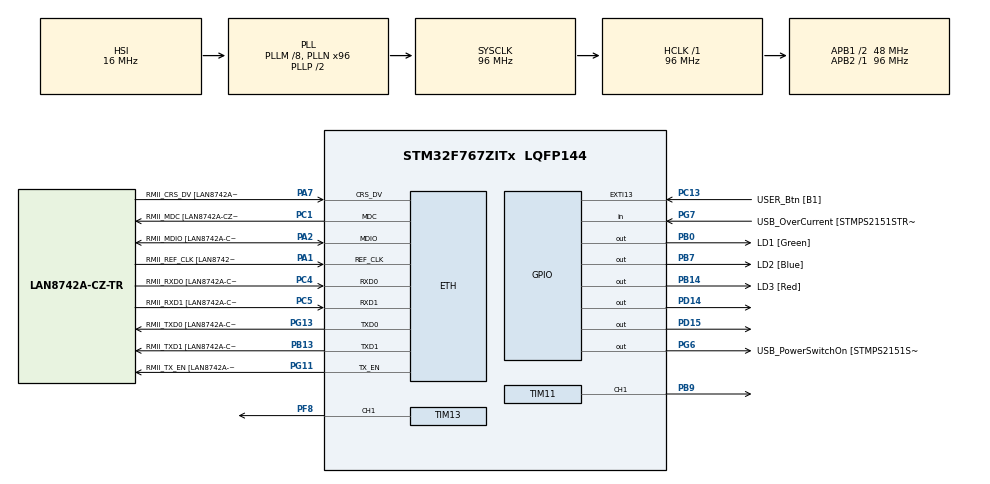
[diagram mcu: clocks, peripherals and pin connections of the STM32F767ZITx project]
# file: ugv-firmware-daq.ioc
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CORTEX_M7.AccessPermission-Cortex_Memory_Protection_Unit_Region0_Settings=MPU_REGION_FULL_ACCESS
CORTEX_M7.BaseAddress-Cortex_Memory_Protection_Unit_Region0_Settings=0x2007c000
CORTEX_M7.CPU_DCache=Enabled
CORTEX_M7.CPU_ICache=Enabled
CORTEX_M7.DisableExec-Cortex_Memory_Protection_Unit_Region0_Settings=MPU_INSTRUCTION_ACCESS_DISABLE
CORTEX_M7.Enable-Cortex_Memory_Protection_Unit_Region0_Settings=MPU_REGION_ENABLE
CORTEX_M7.Enable-Cortex_Memory_Protection_Unit_Region1_Settings=__NULL
CORTEX_M7.Enable-Cortex_Memory_Protection_Unit_Region2_Settings=__NULL
CORTEX_M7.IsShareable-Cortex_Memory_Protection_Unit_Region0_Settings=MPU_ACCESS_SHAREABLE
CORTEX_M7.MPU_Control=MPU_PRIVILEGED_DEFAULT
CORTEX_M7.PREFETCH_ENABLE=1
CORTEX_M7.Size-Cortex_Memory_Protection_Unit_Region0_Settings=MPU_REGION_SIZE_16KB
CORTEX_M7.SubRegionDisable-Cortex_Memory_Protection_Unit_Region0_Settings=0x0
CORTEX_M7.TypeExtField-Cortex_Memory_Protection_Unit_Region0_Settings=MPU_TEX_LEVEL1
ETH.MACAddr=00\:80\:E1\:00\:00\:01
ETH.MediaInterface=HAL_ETH_RMII_MODE
LWIP.BSP.number=1
LWIP.GATEWAY_ADDRESS=169.254.155.001
LWIP.IP_ADDRESS=169.254.155.101
LWIP.LWIP_DHCP=0
LWIP.LWIP_RAM_HEAP_POINTER=0x2007c140
LWIP.MEM_SIZE=10*1024
LWIP.NETMASK_ADDRESS=255.255.255.000
LWIP.Version=v2.1.2_Cube
LWIP0.BSP.STBoard=false
LWIP0.BSP.api=BSP_COMPONENT_DRIVER
LWIP0.BSP.component=LAN8742
LWIP0.BSP.instance=LAN8742
LWIP0.BSP.name=Driver_PHY
LWIP0.BSP.semaphore=S_LAN8742
LWIP0.BSP.solution=LAN8742
Mcu.Family=STM32F7
Mcu.Name=STM32F767ZITx
Mcu.Package=LQFP144
NVIC.ETH_IRQn=true\:0\:0\:false\:false\:true\:true\:true\:true
NVIC.PriorityGroup=NVIC_PRIORITYGROUP_4
PA1.GPIO_Label=RMII_REF_CLK [LAN8742A-CZ-TR_REFCLK0]
PA1.Mode=RMII
PA1.Signal=ETH_REF_CLK
PA10.GPIO_Label=USB_ID
PA10.Signal=USB_OTG_FS_ID
PA11.GPIO_Label=USB_DM
PA11.Signal=USB_OTG_FS_DM
PA12.GPIO_Label=USB_DP
PA12.Signal=USB_OTG_FS_DP
PA13.GPIO_Label=TMS
PA13.Signal=SYS_JTMS-SWDIO
PA14.GPIO_Label=TCK
PA14.Signal=SYS_JTCK-SWCLK
PA2.GPIO_Label=RMII_MDIO [LAN8742A-CZ-TR_MDIO]
PA2.Mode=RMII
PA2.Signal=ETH_MDIO
PA7.GPIO_Label=RMII_CRS_DV [LAN8742A-CZ-TR_CRS_DV]
PA7.Mode=RMII
PA7.Signal=ETH_CRS_DV
PA8.GPIO_Label=USB_SOF [TP1]
PA8.Signal=USB_OTG_FS_SOF
PA9.GPIO_Label=USB_VBUS
PA9.Signal=USB_OTG_FS_VBUS
PB0.GPIO_Label=LD1 [Green]
PB0.Signal=GPIO_Output
PB13.GPIO_Label=RMII_TXD1 [LAN8742A-CZ-TR_TXD1]
PB13.Mode=RMII
PB13.Signal=ETH_TXD1
PB14.GPIO_Label=LD3 [Red]
PB14.Signal=GPIO_Output
PB3.GPIO_Label=SW0
PB3.Signal=SYS_JTDO-SWO
PB7.GPIO_Label=LD2 [Blue]
PB7.Signal=GPIO_Output
PB9.Signal=S_TIM11_CH1
PC1.GPIO_Label=RMII_MDC [LAN8742A-CZ-TR_MDC]
PC1.Mode=RMII
PC1.Signal=ETH_MDC
PC13.GPIO_Label=USER_Btn [B1]
PC13.Signal=GPXTI13
PC14/OSC32_IN.Signal=RCC_OSC32_IN
PC15/OSC32_OUT.Signal=RCC_OSC32_OUT
PC4.GPIO_Label=RMII_RXD0 [LAN8742A-CZ-TR_RXD0]
PC4.Mode=RMII
PC4.Signal=ETH_RXD0
PC5.GPIO_Label=RMII_RXD1 [LAN8742A-CZ-TR_RXD1]
PC5.Mode=RMII
PC5.Signal=ETH_RXD1
PD14.Signal=GPIO_Output
PD15.Signal=GPIO_Output
PD8.GPIO_Label=STLK_RX [STM32F103CBT6_PA3]
PD8.Signal=USART3_TX
PD9.GPIO_Label=STLK_TX [STM32F103CBT6_PA2]
PD9.Signal=USART3_RX
PF8.Signal=S_TIM13_CH1
PG11.GPIO_Label=RMII_TX_EN [LAN8742A-CZ-TR_TXEN]
PG11.Mode=RMII
PG11.Signal=ETH_TX_EN
PG13.GPIO_Label=RMII_TXD0 [LAN8742A-CZ-TR_TXD0]
PG13.Mode=RMII
PG13.Signal=ETH_TXD0
PG6.GPIO_Label=USB_PowerSwitchOn [STMPS2151STR_EN]
PG6.Signal=GPIO_Output
PG7.GPIO_Label=USB_OverCurrent [STMPS2151STR_FAULT]
PG7.Signal=GPIO_Input
PH0/OSC_IN.GPIO_Label=MCO [STM32F103CBT6_PA8]
PH0/OSC_IN.Mode=HSE-External-Oscillator
PH0/OSC_IN.Signal=RCC_OSC_IN
PH1/OSC_OUT.Mode=HSE-External-Oscillator
PH1/OSC_OUT.Signal=RCC_OSC_OUT
ProjectManager.HeapSize=0x200
ProjectManager.StackSize=0x400
ProjectManager.TargetToolchain=STM32CubeIDE
RCC.48MHZClocksFreq_Value=24000000
RCC.AHBFreq_Value=96000000
RCC.APB1CLKDivider=RCC_HCLK_DIV2
RCC.APB1Freq_Value=48000000
RCC.APB1TimFreq_Value=96000000
RCC.APB2Freq_Value=96000000
RCC.APB2TimFreq_Value=96000000
RCC.CortexFreq_Value=96000000
RCC.HCLKFreq_Value=96000000
RCC.HSE_VALUE=16000000
RCC.HSI_VALUE=16000000
RCC.LSE_VALUE=32768
RCC.PLLM=8
RCC.PLLMUL=RCC_PLL_MUL9
RCC.PLLN=96
RCC.PRESCALERUSB=RCC_USBCLKSOURCE_PLL_DIV1_5
RCC.SYSCLKFreq_VALUE=96000000
RCC.SYSCLKSource=RCC_SYSCLKSOURCE_PLLCLK
RCC.SYSCLKSourceVirtual=RCC_SYSCLKSOURCE_PLLCLK
RCC.USBFreq_Value=96000000
RCC.VCOOutputFreq_Value=192000000
SH.S_TIM11_CH1.0=TIM11_CH1,PWM Generation1 CH1
SH.S_TIM13_CH1.0=TIM13_CH1,PWM Generation1 CH1
TIM11.Channel=TIM_CHANNEL_1
TIM11.Period=480-1
TIM11.Prescaler=10-1
TIM13.Channel=TIM_CHANNEL_1
TIM13.Period=20000-1
TIM13.Prescaler=96-1
VP_LWIP_VS_Enabled.Mode=Enabled
VP_TIM11_VS_ClockSourceINT.Mode=Enable_Timer
VP_TIM13_VS_ClockSourceINT.Mode=Enable_Timer
board=NUCLEO-F767ZI

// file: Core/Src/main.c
/* USER CODE BEGIN Header */
/**
  ******************************************************************************
  * @file           : main.c
  * @brief          : Main program body
  ******************************************************************************
  * @attention
  *
  * Copyright (c) 2026 STMicroelectronics.
  * All rights reserved.
  *
  * This software is licensed under terms that can be found in the LICENSE file
  * in the root directory of this software component.
  * If no LICENSE file comes with this software, it is provided AS-IS.
  *
  ******************************************************************************
  */
/* USER CODE END Header */
#include "main.h"
#include "lwip.h"

/* USER CODE BEGIN Includes */
#include "lwip/pbuf.h"
#include "lwip/udp.h"
#include "lwip/tcp.h"

#include "stdio.h"
#include "string.h"
#include "math.h"

#include "ugv_servo.h"
#include "ugv_drive_servo.h"
/* USER CODE END Includes */

/* USER CODE BEGIN PM */
const float VH_MAX_HEADING = 80.0;
const float VH_MIN_HEADING = 47.0;
const float VH_MAX_VEL = 0.9;
const float VH_MIN_VEL = -0.9;
/* USER CODE END PM */

TIM_HandleTypeDef htim11;
TIM_HandleTypeDef htim13;

/* USER CODE BEGIN PV */
MotorControl ugv_drive_mtr;

extern struct netif gnetif;
struct udp_pcb *upcb;
char buffer[100];
/* USER CODE END PV */

void SystemClock_Config(void);
static void MPU_Config(void);
static void MX_GPIO_Init(void);
static void MX_TIM13_Init(void);
static void MX_TIM11_Init(void);
/* USER CODE BEGIN PFP */
void udp_receive_callback(void *arg, struct udp_pcb *upcb, struct pbuf *p,
		const ip_addr_t *addr, u16_t port);
//static void udp_client_send();
//void HAL_TIM_PeriodElapsedCallback(TIM_HandleTypeDef *htim);
void udp_client_connect();
/* USER CODE END PFP */

/* USER CODE BEGIN 0 */
float vh_heading = 0.0;
float vh_vel_mag = 0.0;
int duty_cycle = 0;
float vh_conv_heading = 47.0;
ugvServo_t vh_steering;
volatile uint8_t estop_active = 0;
/* USER CODE END 0 */

int main(void)
{

  /* MPU Configuration--------------------------------------------------------*/
  MPU_Config();

  /* Enable the CPU Cache */

  /* Enable I-Cache---------------------------------------------------------*/
  SCB_EnableICache();

  /* Enable D-Cache---------------------------------------------------------*/
  SCB_EnableDCache();

  /* MCU Configuration--------------------------------------------------------*/

  /* Reset of all peripherals, Initializes the Flash interface and the Systick. */
  HAL_Init();

  /* Configure the system clock */
  SystemClock_Config();

  /* Initialize all configured peripherals */
  MX_GPIO_Init();
  MX_LWIP_Init();
  MX_TIM13_Init();
  MX_TIM11_Init();
  /* USER CODE BEGIN 2 */
  vh_steering.timerInstance = &htim13;
  vh_steering.timerCCRX = &TIM13->CCR1;
  vh_steering.timerCh = TIM_CHANNEL_1;
  vh_steering.timerARR = htim13.Init.Period;
  vh_steering.minPulse = 500;
  vh_steering.maxPulse = 2500;
  vh_steering.timerPeriod = 20000;
  vh_steering.travelAngle = 180.0;
  vh_steering.minLimit = 47.0; //120
  vh_steering.maxLimit = 80.0; // 200
  vh_steering.travelOffset = 0.0; //steering

  ugv_servoInitServo(&vh_steering);
  MotorControl_Init(&ugv_drive_mtr, &htim11, TIM_CHANNEL_1);
  //HAL_TIM_Base_Start_IT(&htim2);
  udp_client_connect();

  ugv_servoSetAngle(&vh_steering, 63.5);
  MotorControl_SetSpeed(&ugv_drive_mtr, 0.0, 0);
  /* USER CODE END 2 */

  /* Infinite loop */
  while (1)
  {

    /* USER CODE BEGIN 3 */
	  ethernetif_input(&gnetif);
	  ethernet_link_check_state(&gnetif);
	  sys_check_timeouts();
	  if (estop_active)
	  {
		  MotorControl_SetSpeed(&ugv_drive_mtr, 0.0, 0);
	  }
	  /*
	  if(vh_vel_direction){
		  vh_vel_mag += 0.001;
		  if(vh_vel_mag >= VH_MAX_VEL)
			  vh_vel_direction = 0;
	  }
	  else{
		  vh_vel_mag -= 0.001;
		  if(vh_vel_mag <= VH_MIN_VEL)
			  vh_vel_direction = 1;
	  }
	  duty_cycle = (int)(fabsf(0.4) * 480.0);
	  MotorControl_SetSpeed(&ugv_drive_mtr, 0.4, duty_cycle);
	*/
	  /*
	  if(vh_heading_direction){
		  vh_conv_heading += 0.25;
	  	  if(vh_conv_heading >= VH_MAX_HEADING)
	  		  vh_heading_direction = 0;
	  	  }
	  	  else{
	  		  vh_conv_heading -= 0.25;
	  		  if(vh_conv_heading <= VH_MIN_HEADING)
	  			  vh_heading_direction = 1;
	  }
	  ugv_servoSetAngle(&vh_steering, vh_conv_heading);
	  HAL_Delay(10);
	*/
	  //ugv_servoSetAngle(&vh_steering, 160.0);

  }
  /* USER CODE END 3 */
}

void SystemClock_Config(void)
{
  RCC_OscInitTypeDef RCC_OscInitStruct = {0};
  RCC_ClkInitTypeDef RCC_ClkInitStruct = {0};

  /** Configure the main internal regulator output voltage
  */
  __HAL_RCC_PWR_CLK_ENABLE();
  __HAL_PWR_VOLTAGESCALING_CONFIG(PWR_REGULATOR_VOLTAGE_SCALE3);

  /** Initializes the RCC Oscillators according to the specified parameters
  * in the RCC_OscInitTypeDef structure.
  */
  RCC_OscInitStruct.OscillatorType = RCC_OSCILLATORTYPE_HSI;
  RCC_OscInitStruct.HSIState = RCC_HSI_ON;
  RCC_OscInitStruct.HSICalibrationValue = RCC_HSICALIBRATION_DEFAULT;
  RCC_OscInitStruct.PLL.PLLState = RCC_PLL_ON;
  RCC_OscInitStruct.PLL.PLLSource = RCC_PLLSOURCE_HSI;
  RCC_OscInitStruct.PLL.PLLM = 8;
  RCC_OscInitStruct.PLL.PLLN = 96;
  RCC_OscInitStruct.PLL.PLLP = RCC_PLLP_DIV2;
  RCC_OscInitStruct.PLL.PLLQ = 2;
  RCC_OscInitStruct.PLL.PLLR = 2;
  if (HAL_RCC_OscConfig(&RCC_OscInitStruct) != HAL_OK)
  {
    Error_Handler();
  }

  /** Activate the Over-Drive mode
  */
  if (HAL_PWREx_EnableOverDrive() != HAL_OK)
  {
    Error_Handler();
  }

  /** Initializes the CPU, AHB and APB buses clocks
  */
  RCC_ClkInitStruct.ClockType = RCC_CLOCKTYPE_HCLK|RCC_CLOCKTYPE_SYSCLK
                              |RCC_CLOCKTYPE_PCLK1|RCC_CLOCKTYPE_PCLK2;
  RCC_ClkInitStruct.SYSCLKSource = RCC_SYSCLKSOURCE_PLLCLK;
  RCC_ClkInitStruct.AHBCLKDivider = RCC_SYSCLK_DIV1;
  RCC_ClkInitStruct.APB1CLKDivider = RCC_HCLK_DIV2;
  RCC_ClkInitStruct.APB2CLKDivider = RCC_HCLK_DIV1;

  if (HAL_RCC_ClockConfig(&RCC_ClkInitStruct, FLASH_LATENCY_3) != HAL_OK)
  {
    Error_Handler();
  }
}

static void MX_TIM11_Init(void)
{

  TIM_OC_InitTypeDef sConfigOC = {0};

  htim11.Instance = TIM11;
  htim11.Init.Prescaler = 10-1;
  htim11.Init.CounterMode = TIM_COUNTERMODE_UP;
  htim11.Init.Period = 480-1;
  htim11.Init.ClockDivision = TIM_CLOCKDIVISION_DIV1;
  htim11.Init.AutoReloadPreload = TIM_AUTORELOAD_PRELOAD_DISABLE;
  if (HAL_TIM_Base_Init(&htim11) != HAL_OK)
  {
    Error_Handler();
  }
  if (HAL_TIM_PWM_Init(&htim11) != HAL_OK)
  {
    Error_Handler();
  }
  sConfigOC.OCMode = TIM_OCMODE_PWM1;
  sConfigOC.Pulse = 0;
  sConfigOC.OCPolarity = TIM_OCPOLARITY_HIGH;
  sConfigOC.OCFastMode = TIM_OCFAST_DISABLE;
  if (HAL_TIM_PWM_ConfigChannel(&htim11, &sConfigOC, TIM_CHANNEL_1) != HAL_OK)
  {
    Error_Handler();
  }
  HAL_TIM_MspPostInit(&htim11);

}

static void MX_TIM13_Init(void)
{

  TIM_OC_InitTypeDef sConfigOC = {0};

  htim13.Instance = TIM13;
  htim13.Init.Prescaler = 96-1;
  htim13.Init.CounterMode = TIM_COUNTERMODE_UP;
  htim13.Init.Period = 20000-1;
  htim13.Init.ClockDivision = TIM_CLOCKDIVISION_DIV1;
  htim13.Init.AutoReloadPreload = TIM_AUTORELOAD_PRELOAD_DISABLE;
  if (HAL_TIM_Base_Init(&htim13) != HAL_OK)
  {
    Error_Handler();
  }
  if (HAL_TIM_PWM_Init(&htim13) != HAL_OK)
  {
    Error_Handler();
  }
  sConfigOC.OCMode = TIM_OCMODE_PWM1;
  sConfigOC.Pulse = 0;
  sConfigOC.OCPolarity = TIM_OCPOLARITY_HIGH;
  sConfigOC.OCFastMode = TIM_OCFAST_DISABLE;
  if (HAL_TIM_PWM_ConfigChannel(&htim13, &sConfigOC, TIM_CHANNEL_1) != HAL_OK)
  {
    Error_Handler();
  }
  HAL_TIM_MspPostInit(&htim13);

}

static void MX_GPIO_Init(void)
{
  GPIO_InitTypeDef GPIO_InitStruct = {0};

  /* GPIO Ports Clock Enable */
  __HAL_RCC_GPIOC_CLK_ENABLE();
  __HAL_RCC_GPIOF_CLK_ENABLE();
  __HAL_RCC_GPIOH_CLK_ENABLE();
  __HAL_RCC_GPIOA_CLK_ENABLE();
  __HAL_RCC_GPIOB_CLK_ENABLE();
  __HAL_RCC_GPIOD_CLK_ENABLE();
  __HAL_RCC_GPIOG_CLK_ENABLE();

  /*Configure GPIO pin Output Level */
  HAL_GPIO_WritePin(GPIOB, LD1_Pin|LD3_Pin|LD2_Pin, GPIO_PIN_RESET);

  /*Configure GPIO pin Output Level */
  HAL_GPIO_WritePin(GPIOD, GPIO_PIN_14|GPIO_PIN_15, GPIO_PIN_RESET);

  /*Configure GPIO pin Output Level */
  HAL_GPIO_WritePin(USB_PowerSwitchOn_GPIO_Port, USB_PowerSwitchOn_Pin, GPIO_PIN_RESET);

  /*Configure GPIO pin : USER_Btn_Pin */
  GPIO_InitStruct.Pin = USER_Btn_Pin;
  GPIO_InitStruct.Mode = GPIO_MODE_IT_RISING;
  GPIO_InitStruct.Pull = GPIO_NOPULL;
  HAL_GPIO_Init(USER_Btn_GPIO_Port, &GPIO_InitStruct);

  /*Configure GPIO pins : LD1_Pin LD3_Pin LD2_Pin */
  GPIO_InitStruct.Pin = LD1_Pin|LD3_Pin|LD2_Pin;
  GPIO_InitStruct.Mode = GPIO_MODE_OUTPUT_PP;
  GPIO_InitStruct.Pull = GPIO_NOPULL;
  GPIO_InitStruct.Speed = GPIO_SPEED_FREQ_LOW;
  HAL_GPIO_Init(GPIOB, &GPIO_InitStruct);

  /*Configure GPIO pins : STLK_RX_Pin STLK_TX_Pin */
  GPIO_InitStruct.Pin = STLK_RX_Pin|STLK_TX_Pin;
  GPIO_InitStruct.Mode = GPIO_MODE_AF_PP;
  GPIO_InitStruct.Pull = GPIO_NOPULL;
  GPIO_InitStruct.Speed = GPIO_SPEED_FREQ_VERY_HIGH;
  GPIO_InitStruct.Alternate = GPIO_AF7_USART3;
  HAL_GPIO_Init(GPIOD, &GPIO_InitStruct);

  /*Configure GPIO pins : PD14 PD15 */
  GPIO_InitStruct.Pin = GPIO_PIN_14|GPIO_PIN_15;
  GPIO_InitStruct.Mode = GPIO_MODE_OUTPUT_PP;
  GPIO_InitStruct.Pull = GPIO_NOPULL;
  GPIO_InitStruct.Speed = GPIO_SPEED_FREQ_LOW;
  HAL_GPIO_Init(GPIOD, &GPIO_InitStruct);

  /*Configure GPIO pin : USB_PowerSwitchOn_Pin */
  GPIO_InitStruct.Pin = USB_PowerSwitchOn_Pin;
  GPIO_InitStruct.Mode = GPIO_MODE_OUTPUT_PP;
  GPIO_InitStruct.Pull = GPIO_NOPULL;
  GPIO_InitStruct.Speed = GPIO_SPEED_FREQ_LOW;
  HAL_GPIO_Init(USB_PowerSwitchOn_GPIO_Port, &GPIO_InitStruct);

  /*Configure GPIO pin : USB_OverCurrent_Pin */
  GPIO_InitStruct.Pin = USB_OverCurrent_Pin;
  GPIO_InitStruct.Mode = GPIO_MODE_INPUT;
  GPIO_InitStruct.Pull = GPIO_NOPULL;
  HAL_GPIO_Init(USB_OverCurrent_GPIO_Port, &GPIO_InitStruct);

  /*Configure GPIO pins : USB_SOF_Pin USB_ID_Pin USB_DM_Pin USB_DP_Pin */
  GPIO_InitStruct.Pin = USB_SOF_Pin|USB_ID_Pin|USB_DM_Pin|USB_DP_Pin;
  GPIO_InitStruct.Mode = GPIO_MODE_AF_PP;
  GPIO_InitStruct.Pull = GPIO_NOPULL;
  GPIO_InitStruct.Speed = GPIO_SPEED_FREQ_VERY_HIGH;
  GPIO_InitStruct.Alternate = GPIO_AF10_OTG_FS;
  HAL_GPIO_Init(GPIOA, &GPIO_InitStruct);

  /*Configure GPIO pin : USB_VBUS_Pin */
  GPIO_InitStruct.Pin = USB_VBUS_Pin;
  GPIO_InitStruct.Mode = GPIO_MODE_INPUT;
  GPIO_InitStruct.Pull = GPIO_NOPULL;
  HAL_GPIO_Init(USB_VBUS_GPIO_Port, &GPIO_InitStruct);

}

/* USER CODE BEGIN 4 */
/*
void HAL_TIM_PeriodElapsedCallback(TIM_HandleTypeDef *htim)
{
	// logging data every second
	//udp_client_send();
	char log[200] = {0};
	sprintf(log, "Heading angle: %f, Converted heading angle: %f, Velocity: %f, duty cycle: %d\r\n", vh_heading, vh_conv_heading, vh_vel_mag, duty_cycle);
	HAL_UART_Transmit(&huart3, (uint8_t*)log, sizeof(log), HAL_MAX_DELAY);
}
*/

void udp_client_connect()
{
	err_t err;

	// Create a new UDP control block
	// Need to check for null return
	upcb = udp_new();

	// Bind control block to module's IP address and port
	// Static IP address of Controls: 169.254.155.100
	ip_addr_t my_ip;
	IP_ADDR4(&my_ip, 169, 254, 155, 101);

	// Binds udp protocol control block to a local IP address
	// Arbitrary port # selection: 8
	udp_bind(upcb, &my_ip, 9);

	// Configure destination IP address to be TBD
	ip_addr_t DestIPaddr;
	IP_ADDR4(&DestIPaddr, 169, 254, 155, 1);

	err = udp_connect(upcb, &DestIPaddr, 12345);

	if (err == HAL_OK)
	{
		// Blue LED
		HAL_GPIO_TogglePin(GPIOB, GPIO_PIN_7);
		// Set a receive callback for the upcb when server sends data to client
		udp_recv(upcb, udp_receive_callback, NULL);
	}
}

/*
static void udp_client_send()
{
	struct pbuf *tx_buff;
	char data[100] = {0};

	int len = sprintf(data, "Pay-load angle: %f, End effector: %f\r\n", pl_angle, plend_angle);

	// Allocate pbuf from pool
	tx_buff = pbuf_alloc(PBUF_TRANSPORT, len, PBUF_RAM);

	if (tx_buff != NULL)
	{
		// Copy data into pbuf
		pbuf_take(tx_buff, data, len);

		// Send udp data
		udp_send(upcb, tx_buff);

		// Free pbuf
		pbuf_free(tx_buff);
	}
}
*/

void udp_receive_callback(void *arg, struct udp_pcb *upcb, struct pbuf *p,
		const ip_addr_t *addr, u16_t port)
{
	int len = p->len < 99 ? p->len : 99;
	strncpy(buffer, (char *)p->payload, len);
	buffer[len] = '\0';
	pbuf_free(p);

	// Hardware e-stop: lock all outputs until explicitly released
	if (strncmp(buffer, "ESTOP", 5) == 0)
	{
		estop_active = 1;
		MotorControl_SetSpeed(&ugv_drive_mtr, 0.0, 0);
		ugv_servoSetAngle(&vh_steering, (VH_MIN_HEADING + VH_MAX_HEADING) / 2.0);
		HAL_GPIO_WritePin(GPIOB, LD3_Pin, GPIO_PIN_SET);
		HAL_GPIO_WritePin(GPIOB, LD1_Pin, GPIO_PIN_RESET);
		return;
	}

	if (strncmp(buffer, "RELEASE", 7) == 0)
	{
		estop_active = 0;
		HAL_GPIO_WritePin(GPIOB, LD3_Pin, GPIO_PIN_RESET);
		HAL_GPIO_WritePin(GPIOB, LD1_Pin, GPIO_PIN_SET);
		return;
	}

	if (estop_active)
	{
		MotorControl_SetSpeed(&ugv_drive_mtr, 0.0, 0);
		return;
	}

	uint8_t data_index = 0;
	float data_vals[10] = {0};
	char *buffer_data = strtok(buffer, ",");
	while (buffer_data != NULL && data_index < 10)
	{
		float conv_check = atof(buffer_data);
		if (conv_check == 0)
		{
			HAL_GPIO_TogglePin(GPIOB, GPIO_PIN_14);
		}

		data_vals[data_index] = conv_check;

		++data_index;
		buffer_data = strtok(NULL, ",");
	}
	// steering 0, velocity 1
	vh_vel_mag = data_vals[1];
	vh_heading = data_vals[0];
	if(fabsf(vh_vel_mag) > VH_MAX_VEL){
		if(vh_vel_mag > 0)
			vh_vel_mag = VH_MAX_VEL;
		else
			vh_vel_mag = VH_MIN_VEL;
	}
	vh_conv_heading = (VH_MIN_HEADING + ((VH_MAX_HEADING - VH_MIN_HEADING) / 2.0)) + (vh_heading*((VH_MAX_HEADING - VH_MIN_HEADING) / 2.0));
	duty_cycle = (int)(fabsf(vh_vel_mag) * 480.0);
	ugv_servoSetAngle(&vh_steering, vh_conv_heading);
	MotorControl_SetSpeed(&ugv_drive_mtr, vh_vel_mag, duty_cycle);
}
/* USER CODE END 4 */

 /* MPU Configuration */

void MPU_Config(void)
{
  MPU_Region_InitTypeDef MPU_InitStruct = {0};

  /* Disables the MPU */
  HAL_MPU_Disable();

  /** Initializes and configures the Region and the memory to be protected
  */
  MPU_InitStruct.Enable = MPU_REGION_ENABLE;
  MPU_InitStruct.Number = MPU_REGION_NUMBER0;
  MPU_InitStruct.BaseAddress = 0x2007c000;
  MPU_InitStruct.Size = MPU_REGION_SIZE_16KB;
  MPU_InitStruct.SubRegionDisable = 0x0;
  MPU_InitStruct.TypeExtField = MPU_TEX_LEVEL1;
  MPU_InitStruct.AccessPermission = MPU_REGION_FULL_ACCESS;
  MPU_InitStruct.DisableExec = MPU_INSTRUCTION_ACCESS_DISABLE;
  MPU_InitStruct.IsShareable = MPU_ACCESS_SHAREABLE;
  MPU_InitStruct.IsCacheable = MPU_ACCESS_NOT_CACHEABLE;
  MPU_InitStruct.IsBufferable = MPU_ACCESS_NOT_BUFFERABLE;

  HAL_MPU_ConfigRegion(&MPU_InitStruct);
  /* Enables the MPU */
  HAL_MPU_Enable(MPU_PRIVILEGED_DEFAULT);

}

void Error_Handler(void)
{
  __disable_irq();
  while (1)
  {
  }
}
